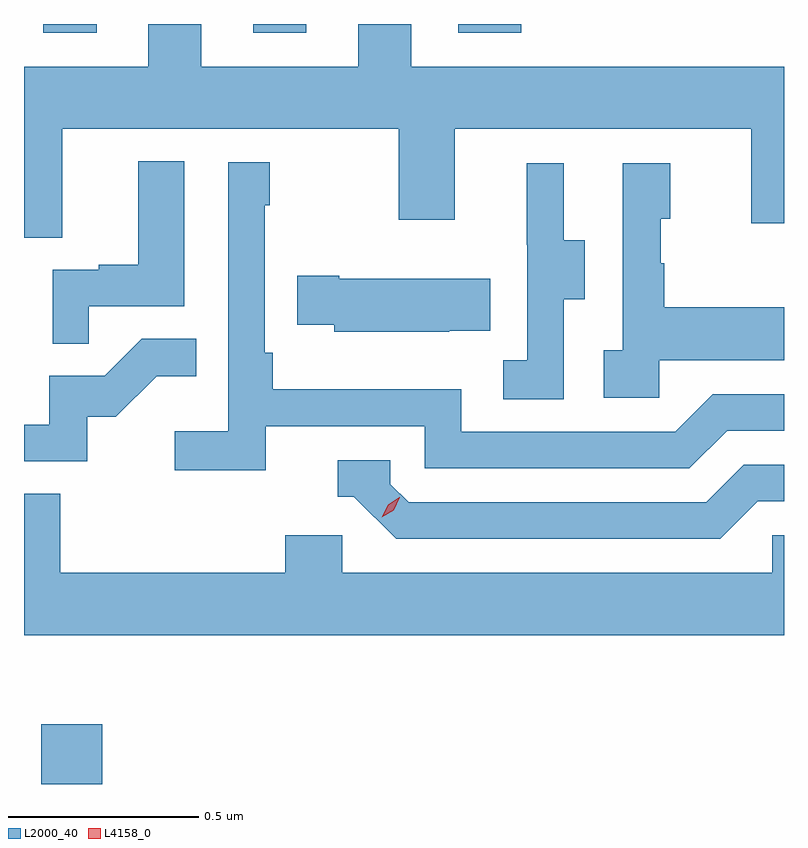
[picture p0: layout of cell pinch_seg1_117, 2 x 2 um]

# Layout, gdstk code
import gdstk
lib = gdstk.Library(unit=1e-6, precision=1e-09)
def R(c, l, rs):  # rectangles x0, y0, x1, y1
    for r in rs: c.add(gdstk.rectangle(r[:2], r[2:], *l))
def P(c, l, *ps):  # polygons
    for p in ps: c.add(gdstk.Polygon(p, *l))
L2000_40 = (2000, 40)
L4158_0 = (4158, 0)

pinch_seg1_117 = lib.new_cell('pinch_seg1_117')
R(pinch_seg1_117, L2000_40, [(1077.305,551.34,1077.466,551.497), (1077.311,553.317,1077.451,553.34), (1077.863,553.317,1078.003,553.34), (1078.403,553.317,1078.568,553.34)])
P(pinch_seg1_117, L2000_40, [(1077.361,553.064),(1078.246,553.064),(1078.246,552.825),(1078.393,552.825),(1078.393,553.064),(1079.174,553.064),(1079.174,552.816),(1079.26,552.816),(1079.26,553.228),(1078.279,553.228),(1078.279,553.34),(1078.139,553.34),(1078.139,553.228),(1077.727,553.228),(1077.727,553.34),(1077.587,553.34),(1077.587,553.228),(1077.26,553.228),(1077.26,552.778),(1077.361,552.778)],
  [(1077.431,552.597),(1077.682,552.597),(1077.682,552.979),(1077.56,552.979),(1077.56,552.706),(1077.457,552.706),(1077.457,552.693),(1077.336,552.693),(1077.336,552.499),(1077.431,552.499)],
  [(1077.896,552.282),(1078.314,552.282),(1078.314,552.171),(1079.011,552.171),(1079.11,552.27),(1079.26,552.27),(1079.26,552.366),(1079.073,552.366),(1078.974,552.267),(1078.41,552.267),(1078.41,552.379),(1077.914,552.379),(1077.914,552.475),(1077.894,552.475),(1077.894,552.863),(1077.907,552.863),(1077.907,552.976),(1077.798,552.976),(1077.798,552.268),(1077.657,552.268),(1077.657,552.166),(1077.896,552.166)],
  [(1078.68,552.616),(1078.735,552.616),(1078.735,552.771),(1078.681,552.771),(1078.681,552.973),(1078.583,552.973),(1078.583,552.759),(1078.584,552.759),(1078.584,552.455),(1078.521,552.455),(1078.521,552.352),(1078.68,552.352)],
  [(1078.932,552.455),(1079.26,552.455),(1079.26,552.595),(1078.945,552.595),(1078.945,552.71),(1078.935,552.71),(1078.935,552.828),(1078.96,552.828),(1078.96,552.973),(1078.836,552.973),(1078.836,552.482),(1078.785,552.482),(1078.785,552.357),(1078.932,552.357)],
  [(1078.379,552.533),(1078.487,552.533),(1078.487,552.67),(1078.09,552.67),(1078.09,552.678),(1077.979,552.678),(1077.979,552.548),(1078.077,552.548),(1078.077,552.53),(1078.379,552.53)],
  [(1077.426,552.306),(1077.502,552.306),(1077.609,552.413),(1077.713,552.413),(1077.713,552.512),(1077.57,552.512),(1077.472,552.414),(1077.327,552.414),(1077.327,552.285),(1077.26,552.285),(1077.26,552.189),(1077.426,552.189)],
  [(1079.191,552.084),(1079.26,552.084),(1079.26,552.18),(1079.154,552.18),(1079.055,552.081),(1078.272,552.081),(1078.224,552.129),(1078.224,552.192),(1078.085,552.192),(1078.085,552.096),(1078.128,552.096),(1078.239,551.985),(1079.092,551.985)],
  [(1079.26,551.994),(1079.229,551.994),(1079.229,551.896),(1078.098,551.896),(1078.098,551.994),(1077.947,551.994),(1077.947,551.896),(1077.356,551.896),(1077.356,552.104),(1077.26,552.104),(1077.26,551.732),(1079.26,551.732)])
P(pinch_seg1_117, L4158_0, [(1078.202,552.042),(1078.202,552.042),(1078.218,552.075),(1078.248,552.094),(1078.249,552.094),(1078.249,552.094),(1078.233,552.061),(1078.202,552.042)])

lib.write_gds('pinch_seg1_117.gds')
